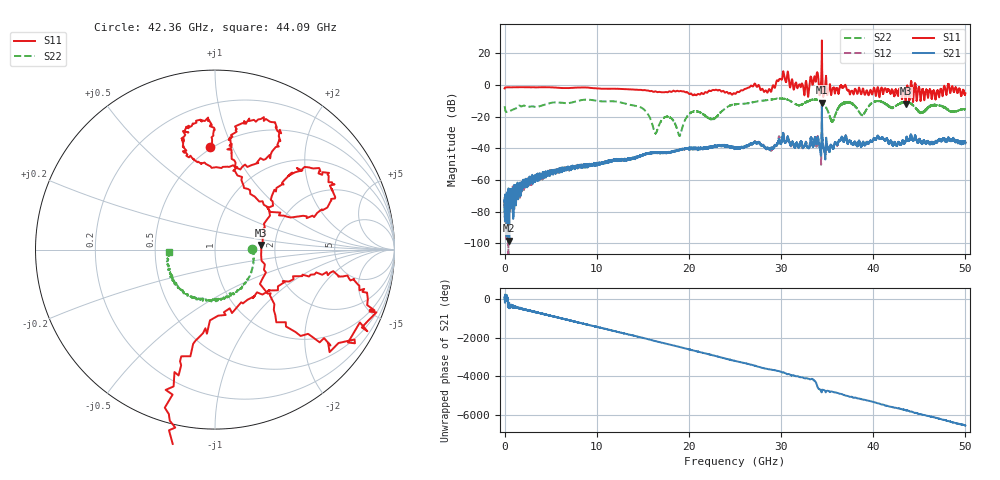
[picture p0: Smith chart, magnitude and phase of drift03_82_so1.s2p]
!Created with skrf (http://scikit-rf.org).
# Hz S RI R 50.0
!freq ReS11 ImS11 ReS21 ImS21 ReS12 ImS12 ReS22 ImS22
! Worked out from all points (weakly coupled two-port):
!   10000 points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, 5.3 MHz to 50 GHz, reference 50 ohm
!   highest |S21| = -11.03 dB at 34.43 GHz (marker M1); lowest = -98.4 dB at 510.3 MHz (marker M2)
!   lowest |S11| = -11.8 dB at 43.52 GHz (marker M3), VSWR 1.69, Z = 84.1 + j4.76 ohm
!   |S11| at or under -10 dB: 43.48359 GHz to 43.55513 GHz (71.55 MHz wide, 0.164 % of centre); 44.30632 GHz to 44.31792 GHz (11.6 MHz wide, 0.0262 % of centre); 44.3218 GHz to 44.33053 GHz (8.737 MHz wide, 0.0197 % of centre) (the widest 3 of 4)
!   |S22| runs from -32.1 to -8.4 dB; largest |S21 - S12| = 0.075
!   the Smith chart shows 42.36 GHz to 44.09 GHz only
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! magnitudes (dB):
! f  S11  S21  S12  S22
! 5.3 MHz  -2.1  -72.6  -76.3  -13.3
! 510.3 MHz  -1.4  -98.4  -71.1  -16.4
! 3.185 GHz  -1.4  -57.9  -60.8  -13.6
! 8.34 GHz  -1.5  -50.6  -51.3  -9.5
! 14.6 GHz  -3.1  -44.9  -45.0  -13.6
! 16.67 GHz  -4.4  -42.8  -42.8  -26.6
! 17.79 GHz  -4.3  -42.5  -42.6  -20.1
! 19 GHz  -3.9  -41.1  -41.1  -32.0
! 20.32 GHz  -5.8  -40.5  -40.3  -17.1
! 22.61 GHz  -3.1  -38.9  -38.9  -21.6
! 25.01 GHz  -5.5  -40.1  -39.5  -12.2
! 28.72 GHz  -2.5  -40.5  -40.7  -9.3
! 30.14 GHz  4.4  -33.6  -33.9  -8.5
! 32.74 GHz  2.0  -37.0  -36.6  -10.5
! 33.34 GHz  2.7  -34.7  -35.3  -9.3
! 34.43 GHz  28.2  -11.0  -12.9  -10.8
! 35.55 GHz  -2.9  -39.1  -39.0  -23.0
! 36.94 GHz  0.1  -33.6  -33.6  -11.3
! 38.78 GHz  -4.5  -37.6  -37.9  -19.0
! 41.67 GHz  -2.8  -36.8  -37.0  -13.5
! 43.52 GHz  -11.8  -35.2  -35.1  -10.8
! 50 GHz  -5.2  -36.7  -36.2  -15.4
